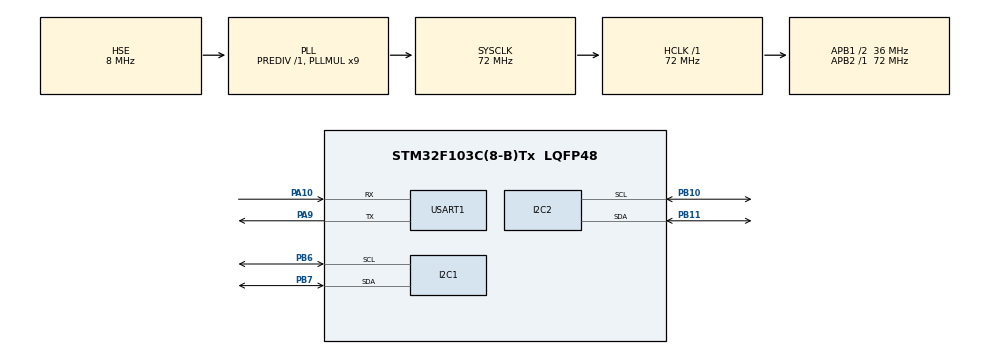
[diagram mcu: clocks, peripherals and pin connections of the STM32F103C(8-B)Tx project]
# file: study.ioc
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FREERTOS.Tasks01=MasterTask,0,128,Master_Task,Default,NULL,Dynamic,NULL,NULL;SlaveTask,0,128,Slave_Task,Default,NULL,Dynamic,NULL,NULL
I2C1.OwnAddress=0x40
I2C2.OwnAddress=0x50
Mcu.Family=STM32F1
Mcu.Name=STM32F103C(8-B)Tx
Mcu.Package=LQFP48
NVIC.PriorityGroup=NVIC_PRIORITYGROUP_4
NVIC.TIM1_UP_IRQn=true\:15\:0\:false\:false\:true\:false\:false\:true\:true
NVIC.TimeBase=TIM1_UP_IRQn
NVIC.TimeBaseIP=TIM1
PA10.Mode=Asynchronous
PA10.Signal=USART1_RX
PA13.Mode=Serial_Wire
PA13.Signal=SYS_JTMS-SWDIO
PA14.Mode=Serial_Wire
PA14.Signal=SYS_JTCK-SWCLK
PA9.Mode=Asynchronous
PA9.Signal=USART1_TX
PB10.Mode=I2C
PB10.Signal=I2C2_SCL
PB11.Mode=I2C
PB11.Signal=I2C2_SDA
PB6.Mode=I2C
PB6.Signal=I2C1_SCL
PB7.Mode=I2C
PB7.Signal=I2C1_SDA
PD0-OSC_IN.Mode=HSE-External-Oscillator
PD0-OSC_IN.Signal=RCC_OSC_IN
PD1-OSC_OUT.Mode=HSE-External-Oscillator
PD1-OSC_OUT.Signal=RCC_OSC_OUT
ProjectManager.HeapSize=0x200
ProjectManager.StackSize=0x400
ProjectManager.TargetToolchain=MDK-ARM V5.32
RCC.AHBFreq_Value=72000000
RCC.APB1CLKDivider=RCC_HCLK_DIV2
RCC.APB1Freq_Value=36000000
RCC.APB1TimFreq_Value=72000000
RCC.APB2Freq_Value=72000000
RCC.APB2TimFreq_Value=72000000
RCC.HCLKFreq_Value=72000000
RCC.PLLMUL=RCC_PLL_MUL9
RCC.PLLSourceVirtual=RCC_PLLSOURCE_HSE
RCC.SYSCLKFreq_VALUE=72000000
RCC.SYSCLKSource=RCC_SYSCLKSOURCE_PLLCLK
RCC.USBFreq_Value=72000000
USART1.VirtualMode=VM_ASYNC
VP_FREERTOS_VS_CMSIS_V1.Mode=CMSIS_V1
VP_SYS_VS_tim1.Mode=TIM1
board=custom

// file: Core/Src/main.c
/* USER CODE BEGIN Header */
/**
  ******************************************************************************
  * @file           : main.c
  * @brief          : Main program body
  ******************************************************************************
  * @attention
  *
  * Copyright (c) 2026 STMicroelectronics.
  * All rights reserved.
  *
  * This software is licensed under terms that can be found in the LICENSE file
  * in the root directory of this software component.
  * If no LICENSE file comes with this software, it is provided AS-IS.
  *
  ******************************************************************************
  */
/* USER CODE END Header */
#include "main.h"
#include "cmsis_os.h"
#include "i2c.h"
#include "usart.h"
#include "gpio.h"

/* USER CODE BEGIN Includes */
#include "slave.h"
/* USER CODE END Includes */

void SystemClock_Config(void);
void MX_FREERTOS_Init(void);

int main(void)
{

  /* MCU Configuration--------------------------------------------------------*/

  /* Reset of all peripherals, Initializes the Flash interface and the Systick. */
  HAL_Init();

  /* Configure the system clock */
  SystemClock_Config();

  /* Initialize all configured peripherals */
  MX_GPIO_Init();
  MX_I2C1_Init();
  MX_I2C2_Init();
  MX_USART1_UART_Init();

  /* Call init function for freertos objects (in cmsis_os2.c) */
  MX_FREERTOS_Init();

  /* Start scheduler */
  osKernelStart();

  /* We should never get here as control is now taken by the scheduler */

  /* Infinite loop */
  while (1)
  {

  }
}

void SystemClock_Config(void)
{
  RCC_OscInitTypeDef RCC_OscInitStruct = {0};
  RCC_ClkInitTypeDef RCC_ClkInitStruct = {0};

  /** Initializes the RCC Oscillators according to the specified parameters
  * in the RCC_OscInitTypeDef structure.
  */
  RCC_OscInitStruct.OscillatorType = RCC_OSCILLATORTYPE_HSE;
  RCC_OscInitStruct.HSEState = RCC_HSE_ON;
  RCC_OscInitStruct.HSEPredivValue = RCC_HSE_PREDIV_DIV1;
  RCC_OscInitStruct.HSIState = RCC_HSI_ON;
  RCC_OscInitStruct.PLL.PLLState = RCC_PLL_ON;
  RCC_OscInitStruct.PLL.PLLSource = RCC_PLLSOURCE_HSE;
  RCC_OscInitStruct.PLL.PLLMUL = RCC_PLL_MUL9;
  if (HAL_RCC_OscConfig(&RCC_OscInitStruct) != HAL_OK)
  {
    Error_Handler();
  }

  /** Initializes the CPU, AHB and APB buses clocks
  */
  RCC_ClkInitStruct.ClockType = RCC_CLOCKTYPE_HCLK|RCC_CLOCKTYPE_SYSCLK
                              |RCC_CLOCKTYPE_PCLK1|RCC_CLOCKTYPE_PCLK2;
  RCC_ClkInitStruct.SYSCLKSource = RCC_SYSCLKSOURCE_PLLCLK;
  RCC_ClkInitStruct.AHBCLKDivider = RCC_SYSCLK_DIV1;
  RCC_ClkInitStruct.APB1CLKDivider = RCC_HCLK_DIV2;
  RCC_ClkInitStruct.APB2CLKDivider = RCC_HCLK_DIV1;

  if (HAL_RCC_ClockConfig(&RCC_ClkInitStruct, FLASH_LATENCY_2) != HAL_OK)
  {
    Error_Handler();
  }
}

void HAL_TIM_PeriodElapsedCallback(TIM_HandleTypeDef *htim)
{
  if (htim->Instance == TIM1)
  {
    HAL_IncTick();
  }
}

void Error_Handler(void)
{
  __disable_irq();
  while (1)
  {
  }
}

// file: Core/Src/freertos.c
/* USER CODE BEGIN Header */
/**
  ******************************************************************************
  * File Name          : freertos.c
  * Description        : Code for freertos applications
  ******************************************************************************
  * @attention
  *
  * Copyright (c) 2026 STMicroelectronics.
  * All rights reserved.
  *
  * This software is licensed under terms that can be found in the LICENSE file
  * in the root directory of this software component.
  * If no LICENSE file comes with this software, it is provided AS-IS.
  *
  ******************************************************************************
  */
/* USER CODE END Header */

#include "FreeRTOS.h"
#include "task.h"
#include "main.h"
#include "cmsis_os.h"

/* USER CODE BEGIN Includes */
#include "master.h"
#include "slave.h"
#include "BSP_IIC.h"
#include "BSP_UART.h"
/* USER CODE END Includes */

osThreadId MasterTaskHandle;
osThreadId SlaveTaskHandle;

/* I2C 互斥量: 保护恢复路径, 避免一侧恢复期间另一侧发起事务导致连锁恢复 */
osMutexId g_i2c_mutex;

void Master_Task(void const * argument);
void Slave_Task(void const * argument);

void MX_FREERTOS_Init(void); /* (MISRA C 2004 rule 8.1) */

/* GetIdleTaskMemory prototype (linked to static allocation support) */
void vApplicationGetIdleTaskMemory( StaticTask_t **ppxIdleTaskTCBBuffer, StackType_t **ppxIdleTaskStackBuffer, uint32_t *pulIdleTaskStackSize );

/* USER CODE BEGIN GET_IDLE_TASK_MEMORY */
static StaticTask_t xIdleTaskTCBBuffer;
static StackType_t xIdleStack[configMINIMAL_STACK_SIZE];

void vApplicationGetIdleTaskMemory( StaticTask_t **ppxIdleTaskTCBBuffer, StackType_t **ppxIdleTaskStackBuffer, uint32_t *pulIdleTaskStackSize )
{
  *ppxIdleTaskTCBBuffer = &xIdleTaskTCBBuffer;
  *ppxIdleTaskStackBuffer = &xIdleStack[0];
  *pulIdleTaskStackSize = configMINIMAL_STACK_SIZE;
  /* place for user code */
}
/* USER CODE END GET_IDLE_TASK_MEMORY */

void MX_FREERTOS_Init(void) {

  /* Create the thread(s) */
  /* definition and creation of MasterTask */
  osThreadDef(MasterTask, Master_Task, osPriorityNormal, 0, 128);
  MasterTaskHandle = osThreadCreate(osThread(MasterTask), NULL);

  /* definition and creation of SlaveTask */
  osThreadDef(SlaveTask, Slave_Task, osPriorityNormal, 0, 128);
  SlaveTaskHandle = osThreadCreate(osThread(SlaveTask), NULL);

  /* USER CODE BEGIN RTOS_THREADS */
  /* add threads, ... */
  /* 创建 I2C 互斥量: 保护恢复路径, 避免一侧恢复期间另一侧发起事务 */
  osMutexDef(i2c_mutex);
  g_i2c_mutex = osMutexCreate(osMutex(i2c_mutex));
  /* USER CODE END RTOS_THREADS */

}

void Master_Task(void const * argument)
{
  /* USER CODE BEGIN Master_Task */
	TimeData_t master_time = {2026, 8, 27, 12, 0, 0};
  /* Infinite loop: 周期性发送时间到从机, 并单独读取从机传感器数据 */
  for(;;)
  {
    /* 主机带地址发送时间到从机 (写入 SLAVE_REG_TIME 寄存器) */
    if (Master_SendTimeByAddr(&master_time) == 0)
    {
      printf("[Master] Send Time(addr=0x%02X): %04u-%02u-%02u %02u:%02u:%02u\r\n",
             SLAVE_REG_TIME,
             master_time.year, master_time.month, master_time.day,
             master_time.hour, master_time.minute, master_time.second);
    }
    else
    {
      printf("[Master] Send Time FAILED\r\n");
    }

    /* 时间自增 (每秒 +1 秒, 简化处理) */
    master_time.second++;
    if (master_time.second >= 60)
    {
      master_time.second = 0;
      master_time.minute++;
      if (master_time.minute >= 60)
      {
        master_time.minute = 0;
        master_time.hour++;
        if (master_time.hour >= 24)
        {
          master_time.hour = 0;
        }
      }
    }

    osDelay(500);

    /* 1. 单独读取温度寄存器 (SLAVE_REG_TEMP, 2 字节) */
    if (Master_ReadTempByAddr() == 0)
    {
      printf("[Master] Read Temp(addr=0x%02X): %d.%d C\r\n",
             SLAVE_REG_TEMP,
             g_master_sensor.temperature / 10, g_master_sensor.temperature % 10);
    }
    else
    {
      printf("[Master] Read Temp FAILED\r\n");
    }

    osDelay(500);

    /* 2. 单独读取湿度寄存器 (SLAVE_REG_HUMI, 2 字节) */
    if (Master_ReadHumiByAddr() == 0)
    {
      printf("[Master] Read Humi(addr=0x%02X): %d.%d %%\r\n",
             SLAVE_REG_HUMI,
             g_master_sensor.humidity / 10, g_master_sensor.humidity % 10);
    }
    else
    {
      printf("[Master] Read Humi FAILED\r\n");
    }

    osDelay(500);

    /* 3. 单独读取光照寄存器 (SLAVE_REG_LIGHT, 2 字节) */
    if (Master_ReadLightByAddr() == 0)
    {
      /* 光照合法范围兜底校验 (从机生成范围 0 ~ 999) */
      if ((g_master_sensor.light >= 0) && (g_master_sensor.light <= 999))
      {
        printf("[Master] Read Light(addr=0x%02X): %d lux\r\n",
               SLAVE_REG_LIGHT, g_master_sensor.light);
      }
      else
      {
        printf("[Master] Light data INVALID, dropped\r\n");
      }
    }
    else
    {
      printf("[Master] Read Light FAILED\r\n");
    }

    osDelay(500);
  }
  /* USER CODE END Master_Task */
}

void Slave_Task(void const * argument)
{
  /* USER CODE BEGIN Slave_Task */

  /* 按寄存器地址派发, 不依赖超时区分 cycle:
   *   主机写时间 (SLAVE_REG_TIME) -> Slave_ReadByAddr 接收并解析到 g_slave_time,
   *                                 随后刷新传感器供本轮读取。
   *   主机读传感器 (TEMP/HUMI/LIGHT) -> Slave_ReadByAddr 内部按需序列化并发送。
   * Slave_ReadByAddr 返回处理的寄存器地址, 超时/异常返回 0xFF。
   */
  for(;;)
  {
    uint8_t reg = Slave_ReadByAddr();

    if (reg == SLAVE_REG_TIME)
    {
      printf("[Slave]  Recv Time(addr=0x%02X): %04u-%02u-%02u %02u:%02u:%02u\r\n",
             SLAVE_REG_TIME,
             g_slave_time.year, g_slave_time.month, g_slave_time.day,
             g_slave_time.hour, g_slave_time.minute, g_slave_time.second);
      Slave_UpdateSensor();
    }
  }
  /* USER CODE END Slave_Task */
}
